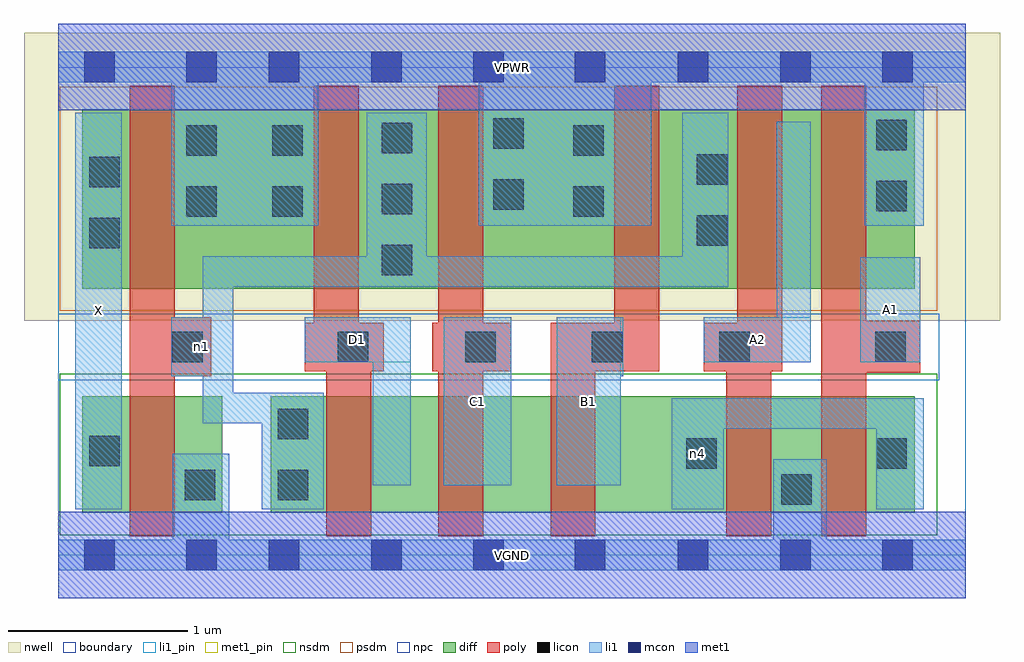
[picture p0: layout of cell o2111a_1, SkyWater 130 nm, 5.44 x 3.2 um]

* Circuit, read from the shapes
.subckt o2111a_1 A1 A2 B1 C1 D1 VGND VPWR X n1 n4
XM1 VGND n1 X VSUBS sky130_fd_pr__nfet_01v8 w=0.65 l=0.25
XM2 n2 D1 n1 VSUBS sky130_fd_pr__nfet_01v8 w=0.65 l=0.25
XM3 n3 C1 n2 VSUBS sky130_fd_pr__nfet_01v8 w=0.65 l=0.25
XM4 n4 B1 n3 VSUBS sky130_fd_pr__nfet_01v8 w=0.65 l=0.25
XM5 VGND A2 n4 VSUBS sky130_fd_pr__nfet_01v8 w=0.65 l=0.25
XM6 n4 A1 VGND VSUBS sky130_fd_pr__nfet_01v8 w=0.65 l=0.25
XM7 VPWR n1 X n5 sky130_fd_pr__pfet_01v8 w=1 l=0.25
XM8 n1 D1 VPWR n5 sky130_fd_pr__pfet_01v8 w=1 l=0.25
XM9 VPWR C1 n1 n5 sky130_fd_pr__pfet_01v8 w=1 l=0.25
XM10 n1 B1 VPWR n5 sky130_fd_pr__pfet_01v8 w=1 l=0.25
XM11 n6 A2 n1 n5 sky130_fd_pr__pfet_01v8 w=1 l=0.25
XM12 VPWR A1 n6 n5 sky130_fd_pr__pfet_01v8 w=1 l=0.25
.ends

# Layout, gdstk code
import gdstk
lib = gdstk.Library(unit=1e-6, precision=1e-09)
def R(c, l, rs):  # rectangles x0, y0, x1, y1
    for r in rs: c.add(gdstk.rectangle(r[:2], r[2:], *l))
def A(c, l, x, y, w, h, nx, ny, dx, dy):  # array of equal rectangles
    R(c, l, [(x+i*dx, y+j*dy, x+i*dx+w, y+j*dy+h) for i in range(nx) for j in range(ny)])
nwell = (64, 20)
diff = (65, 20)
poly = (66, 20)
licon = (66, 44)
li1_pin = (67, 16)
li1 = (67, 20)
mcon = (67, 44)
met1_pin = (68, 16)
met1 = (68, 20)
nsdm = (93, 44)
psdm = (94, 20)
npc = (95, 20)
boundary = (235, 4)

o2111a_1 = lib.new_cell('o2111a_1')
R(o2111a_1, nwell, [(-0.19,1.305,5.25,2.91), (0,1.305,5.06,2.91)])
R(o2111a_1, diff, [(0.135,0.235,0.915,0.885), (1.185,0.235,4.775,0.885), (0.135,1.485,4.775,2.485)])
R(o2111a_1, poly, [(0.4,0.105,0.65,2.615), (1.495,0.105,1.745,1.295), (2.12,0.105,2.37,2.615), (2.745,0.105,2.995,1.295), (3.725,0.105,3.975,1.295), (4.255,0.105,4.505,2.615), (0.4,0.995,0.855,1.325), (4.255,1.015,4.805,1.305), (1.375,1.025,1.815,1.295), (1.425,1.025,1.675,2.615), (2.085,1.025,2.525,1.295), (2.745,1.025,3.35,1.295), (3.1,1.025,3.35,2.615), (3.6,1.025,4.035,1.295), (3.785,1.025,4.035,2.615)])
A(o2111a_1, licon, 1.805, 1.56, 0.17, 0.17, 1, 3, 0, 0.34)
R(o2111a_1, licon, [(4.03,0.28,4.2,0.45), (0.705,0.305,0.875,0.475), (1.225,0.305,1.395,0.475), (3.5,0.48,3.67,0.65), (4.56,0.48,4.73,0.65), (0.175,0.495,0.345,0.665), (1.225,0.645,1.395,0.815), (0.635,1.075,0.805,1.245), (1.56,1.075,1.73,1.245), (2.27,1.075,2.44,1.245), (2.975,1.075,3.145,1.245), (3.685,1.075,3.855,1.245), (4.555,1.075,4.725,1.245), (0.175,1.71,0.345,1.88), (3.56,1.725,3.73,1.895), (0.715,1.885,0.885,2.055), (1.195,1.885,1.365,2.055), (2.87,1.885,3.04,2.055), (4.56,1.915,4.73,2.085), (2.425,1.925,2.595,2.095), (0.175,2.05,0.345,2.22), (3.56,2.065,3.73,2.235), (0.715,2.225,0.885,2.395), (1.195,2.225,1.365,2.395), (2.87,2.225,3.04,2.395), (4.56,2.255,4.73,2.425), (2.425,2.265,2.595,2.435)])
R(o2111a_1, li1_pin, [(0.095,0.255,0.355,2.465), (2.15,0.39,2.525,1.325), (2.78,0.39,3.135,1.325), (1.375,1.075,1.965,1.325), (3.6,1.075,4.195,1.325), (4.47,1.075,4.805,1.66)])
R(o2111a_1, li1, [(0,-0.085,5.06,0.085), (0.64,-0.085,0.955,0.565), (3.985,-0.085,4.285,0.535), (0.095,0.255,0.355,2.465), (1.135,0.255,1.48,0.905), (3.42,0.255,3.71,0.875), (4.56,0.255,4.825,0.875), (1.755,0.39,1.965,1.325), (2.15,0.39,2.525,1.325), (2.78,0.39,3.135,1.325), (3.42,0.705,4.825,0.875), (0.805,0.735,0.975,1.665), (0.805,0.735,1.48,0.905), (0.63,0.995,0.975,1.325), (2.78,0.995,3.15,1.325), (1.375,1.075,1.965,1.325), (3.6,1.075,4.195,1.325), (4.005,1.075,4.195,2.415), (4.47,1.075,4.805,1.66), (0.805,1.495,3.735,1.665), (1.72,1.495,2.055,2.465), (3.48,1.495,3.735,2.465), (0.63,1.835,1.45,2.805), (2.345,1.835,3.305,2.805), (4.495,1.835,4.825,2.805), (0,2.635,5.06,2.805)])
A(o2111a_1, mcon, 1.175, -0.085, 0.17, 0.17, 3, 2, 0.57, 2.72)
A(o2111a_1, mcon, 3.455, -0.085, 0.17, 0.17, 3, 2, 0.57, 2.72)
R(o2111a_1, mcon, [(0.145,-0.085,0.315,0.085), (0.715,-0.085,0.885,0.085), (2.88,-0.085,3.05,0.085), (0.145,2.635,0.315,2.805), (0.715,2.635,0.885,2.805), (2.88,2.635,3.05,2.805)])
R(o2111a_1, met1_pin, [(0,-0.24,5.06,0.24), (0,2.48,5.06,2.96)])
R(o2111a_1, met1, [(0,-0.24,5.06,0.24), (0,2.48,5.06,2.96)])
R(o2111a_1, nsdm, [(0.01,0.11,4.9,1.01)])
R(o2111a_1, psdm, [(0.01,1.36,4.9,2.61)])
R(o2111a_1, npc, [(0,0.975,4.91,1.345)])
R(o2111a_1, boundary, [(0,0,5.06,2.72)])
o2111a_1.add(gdstk.Label('A1', (4.637,1.367), layer=67, texttype=5))
o2111a_1.add(gdstk.Label('A2', (3.897,1.2), layer=67, texttype=5))
o2111a_1.add(gdstk.Label('B1', (2.957,0.857), layer=67, texttype=5))
o2111a_1.add(gdstk.Label('C1', (2.337,0.857), layer=67, texttype=5))
o2111a_1.add(gdstk.Label('D1', (1.67,1.2), layer=67, texttype=5))
o2111a_1.add(gdstk.Label('X', (0.225,1.36), layer=67, texttype=5))
o2111a_1.add(gdstk.Label('n4', (3.565,0.565), layer=67, texttype=5))
o2111a_1.add(gdstk.Label('n1', (0.802,1.16), layer=67, texttype=5))
o2111a_1.add(gdstk.Label('VPWR', (2.53,2.72), layer=68, texttype=5))
o2111a_1.add(gdstk.Label('VGND', (2.53,0), layer=68, texttype=5))
o2111a_1.add(gdstk.Label('A1', (4.637,1.367), layer=67, texttype=16))
o2111a_1.add(gdstk.Label('A2', (3.897,1.2), layer=67, texttype=16))
o2111a_1.add(gdstk.Label('B1', (2.957,0.857), layer=67, texttype=16))
o2111a_1.add(gdstk.Label('C1', (2.337,0.857), layer=67, texttype=16))
o2111a_1.add(gdstk.Label('D1', (1.67,1.2), layer=67, texttype=16))
o2111a_1.add(gdstk.Label('X', (0.225,1.36), layer=67, texttype=16))
o2111a_1.add(gdstk.Label('VPWR', (2.53,2.72), layer=68, texttype=16))
o2111a_1.add(gdstk.Label('VGND', (2.53,0), layer=68, texttype=16))

lib.write_gds('o2111a_1.gds')
